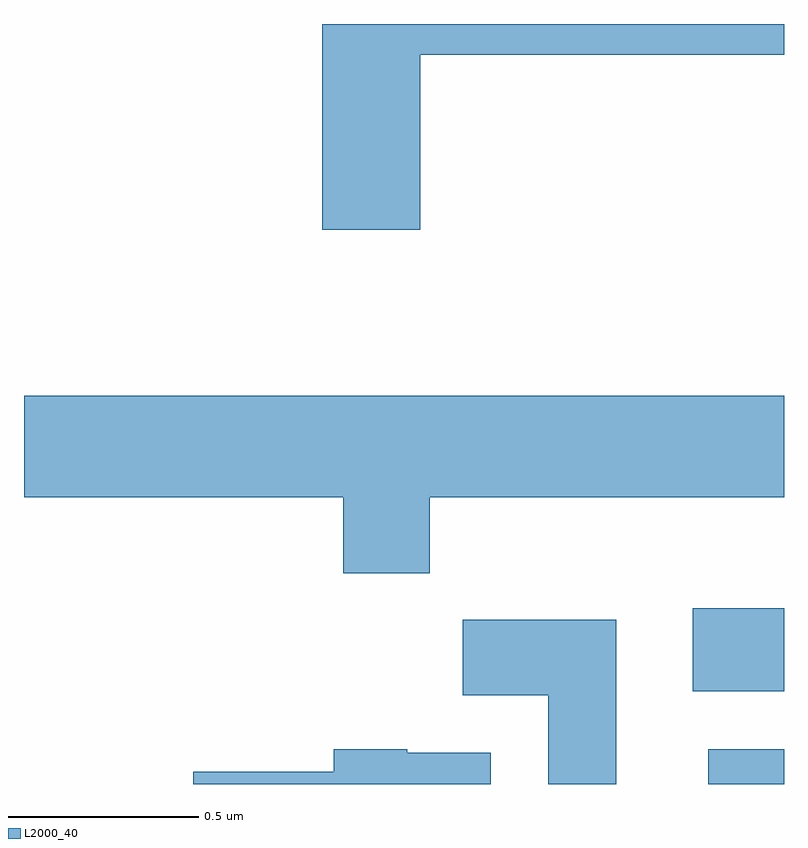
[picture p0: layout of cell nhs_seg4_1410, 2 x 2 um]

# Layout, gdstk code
import gdstk
lib = gdstk.Library(unit=1e-6, precision=1e-09)
def R(c, l, rs):  # rectangles x0, y0, x1, y1
    for r in rs: c.add(gdstk.rectangle(r[:2], r[2:], *l))
def P(c, l, *ps):  # polygons
    for p in ps: c.add(gdstk.Polygon(p, *l))
L2000_40 = (2000, 40)

nhs_seg4_1410 = lib.new_cell('nhs_seg4_1410')
R(nhs_seg4_1410, L2000_40, [(197.411,1293.982,197.611,1294.074), (197.371,1294.226,197.611,1294.444)])
P(nhs_seg4_1410, L2000_40, [(196.654,1295.901),(197.611,1295.901),(197.611,1295.982),(196.396,1295.982),(196.396,1295.441),(196.654,1295.441)],
  [(196.679,1294.736),(197.611,1294.736),(197.611,1295.004),(195.611,1295.004),(195.611,1294.736),(196.451,1294.736),(196.451,1294.536),(196.679,1294.536)],
  [(197.169,1294.414),(196.766,1294.414),(196.766,1294.216),(196.991,1294.216),(196.991,1293.982),(197.169,1293.982)],
  [(196.839,1294.064),(196.62,1294.064),(196.62,1294.074),(196.426,1294.074),(196.426,1294.014),(196.056,1294.014),(196.056,1293.982),(196.839,1293.982)])

lib.write_gds('nhs_seg4_1410.gds')
